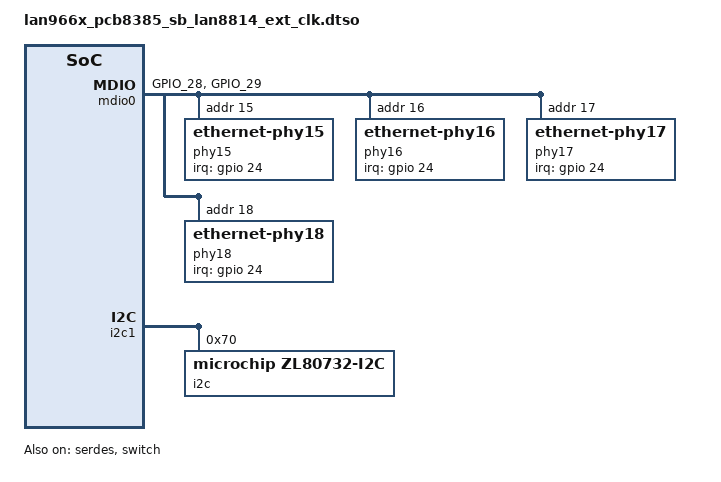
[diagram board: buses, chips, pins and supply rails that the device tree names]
// SPDX-License-Identifier: (GPL-2.0 OR MIT)
/dts-v1/;
/plugin/;

#include "phy-lan966x-serdes.h"
#include "arm-gic.h"
#include "irq.h"

/ {
	fragment@0 {
		target = <&mdio0>;
		__overlay__ {
			pinctrl-0 = <&miim_a_pins>;
			pinctrl-names = "default";
			status = "okay";

			phy15: ethernet-phy15 {
				reg = <15>;
				interrupts = <24 IRQ_TYPE_LEVEL_LOW>;
				interrupt-parent = <&gpio>;
				microchip,1588-clock-freq = <125000000>;
			};
			phy16: ethernet-phy16 {
				reg = <16>;
				interrupts = <24 IRQ_TYPE_LEVEL_LOW>;
				interrupt-parent = <&gpio>;
				microchip,1588-clock-freq = <125000000>;
			};
			phy17: ethernet-phy17 {
				reg = <17>;
				interrupts = <24 IRQ_TYPE_LEVEL_LOW>;
				interrupt-parent = <&gpio>;
				microchip,1588-clock-freq = <125000000>;
			};
			phy18: ethernet-phy18 {
				reg = <18>;
				interrupts = <24 IRQ_TYPE_LEVEL_LOW>;
				interrupt-parent = <&gpio>;
				microchip,1588-clock-freq = <125000000>;
			};
		};
	};

	fragment@1 {
		target = <&port4>;
		__overlay__ {
			reg = <6>;
			status = "okay";
			phy-handle = <&phy17>;
			phy-mode = "qsgmii";
			phys = <&serdes 4 SERDES6G(2)>;
		};
	};

	fragment@2 {
		target = <&port5>;
		__overlay__ {
			reg = <7>;
			status = "okay";
			phy-handle = <&phy18>;
			phy-mode = "qsgmii";
			phys = <&serdes 5 SERDES6G(2)>;
		};
	};

	fragment@3 {
		target = <&port6>;
		__overlay__ {
			reg = <4>;
			status = "okay";
			phy-handle = <&phy15>;
			phy-mode = "qsgmii";
			phys = <&serdes 6 SERDES6G(2)>;
		};
	};

	fragment@4 {
		target = <&port7>;
		__overlay__ {
			reg = <5>;
			status = "okay";
			phy-handle = <&phy16>;
			phy-mode = "qsgmii";
			phys = <&serdes 7 SERDES6G(2)>;
		};
	};

	fragment@5 {
		target = <&serdes>;
		__overlay__ {
			status = "okay";
			microchip,s2-tx-inverted;
		};
	};

	fragment@6 {
		target = <&gpio>;
		__overlay__ {
			miim_a_pins: mdio-pins {
				/* MDC, MDIO */
				pins =  "GPIO_28", "GPIO_29";
				function = "miim_a";
			};
		};
	};

	fragment@7 {
		target = <&switch>;
		__overlay__ {
			status = "okay";
		};
	};

	fragment@8 {
		target = <&i2c1>;
		__overlay__ {
			#address-cells = <1>;
			#size-cells = <0>;

			i2c@70 {
				compatible = "microchip,zl80732-i2c";
				reg = <0x70>;
				#address-cells = <1>;
				#size-cells = <0>;
				status = "okay";

				phc@0 {
					compatible = "microchip,zl80732-phc";
					reg = <0>;
					status = "okay";
				};
			};
		};
	};
};
